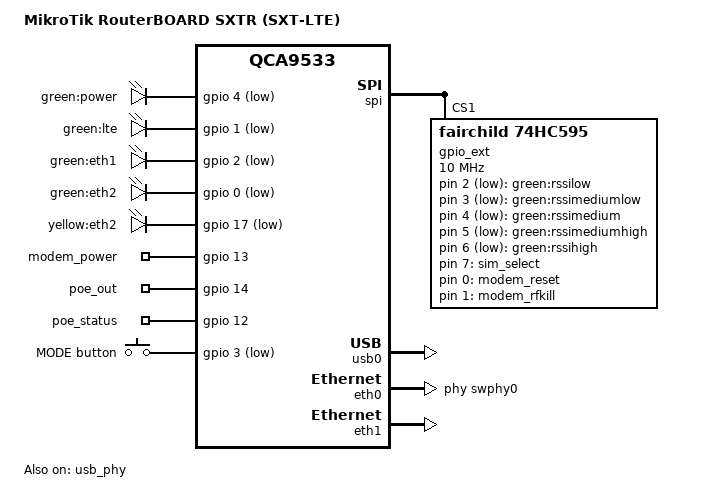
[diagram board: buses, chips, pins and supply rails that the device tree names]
// SPDX-License-Identifier: GPL-2.0-or-later OR MIT

#include "qca9533_mikrotik_routerboard-16m.dtsi"

/ {
    compatible = "mikrotik,routerboard-sxtr", "qca,qca9533";
    model = "MikroTik RouterBOARD SXTR (SXT-LTE)";

    aliases {
        led-boot = &led_power;
        led-failsafe = &led_power;
        led-upgrade = &led_power;
        led-running = &led_power;
    };

    leds {
        compatible = "gpio-leds";
        pinctrl-names = "default";

        led_power: power {
            label = "green:power";
            gpios = <&gpio 4 GPIO_ACTIVE_LOW>;
        };

        lte {
            label = "green:lte";
            gpios = <&gpio 1 GPIO_ACTIVE_LOW>;
        };

        eth1green {
            label = "green:eth1";
            gpios = <&gpio 2 GPIO_ACTIVE_LOW>;
        };

        eth2green {
            label = "green:eth2";
            gpios = <&gpio 0 GPIO_ACTIVE_LOW>;
        };

        eth2yellow {
            label = "yellow:eth2";
            gpios = <&gpio 17 GPIO_ACTIVE_LOW>;
        };

        signal0 {
            label = "green:rssilow";
            gpios = <&gpio_ext 2 GPIO_ACTIVE_LOW>;
        };

        signal1 {
            label = "green:rssimediumlow";
            gpios = <&gpio_ext 3 GPIO_ACTIVE_LOW>;
        };

        signal2 {
            label = "green:rssimedium";
            gpios = <&gpio_ext 4 GPIO_ACTIVE_LOW>;
        };

        signal3 {
            label = "green:rssimediumhigh";
            gpios = <&gpio_ext 5 GPIO_ACTIVE_LOW>;
        };

        signal4 {
            label = "green:rssihigh";
            gpios = <&gpio_ext 6 GPIO_ACTIVE_LOW>;
        };

    };

    gpio-export {
        compatible = "gpio-export";

        modem_power {
            gpio-export,name = "modem_power";
            gpio-export,output = <0>;
            gpios = <&gpio 13 GPIO_ACTIVE_HIGH>;
        };

        poe_out {
            gpio-export,name = "poe_out";
            gpio-export,output = <0>;
            gpios = <&gpio 14 GPIO_ACTIVE_HIGH>;
        };

        poe_status {
            gpio-export,name = "poe_status";
            gpio-export,input;
            gpios = <&gpio 12 GPIO_ACTIVE_HIGH>;
        };

        sim_select {
            gpio-export,name = "sim_select";
            gpio-export,output = <0>;
            gpios = <&gpio_ext 7 GPIO_ACTIVE_HIGH>;
        };

        modem_reset {
            gpio-export,name = "modem_reset";
            gpio-export,output = <0>;
            gpios = <&gpio_ext 0 GPIO_ACTIVE_HIGH>;
        };

        modem_rfkill {
            gpio-export,name = "modem_rfkill";
            gpio-export,output = <0>;
            gpios = <&gpio_ext 1 GPIO_ACTIVE_HIGH>;
        };
    };

    keys {
        compatible = "gpio-keys";

        mode {
            label = "MODE button";
            linux,code = <KEY_RFKILL>;
            gpios = <&gpio 3 GPIO_ACTIVE_LOW>;
            debounce-interval = <60>;
        };
    };
};

&spi {
    status = "okay";
    num-cs = <2>;
    cs-gpios = <0>, <0>;

    pinctrl-names = "default";
    pinctrl-0 = <&pmx_spi_ext>;

    gpio_ext: gpio_ext@1 {
        compatible = "fairchild,74hc595";
        reg = <1>;
        gpio-controller;
        #gpio-cells = <2>;
        registers-number = <1>;
        spi-max-frequency = <10000000>;
    };
};

&pinmux {
    pmx_spi_ext: spi_ext {
        pinctrl-single,bits = <0x08 0x0a000000 0xff000000>;  // Route SPI_CS1 to GPIO 11 for 74HC595.
    };

    pmx_gpios: pmx_gpios {
        pinctrl-single,bits = <0x00 0x00000000 0x00ff00ff>,  // port green leds normal GPIO
                        <0x08 0x00001600 0x0000ff00>,  // 10 is serial out -- shared eth1 yellow LED
                        <0x10 0x00000000 0x0000ff00>;  // i7 normal mode for LED
    };
};

&gpio {
    pinctrl-names = "default";
    pinctrl-0 = <&pmx_gpios>;
};

&usb0 {
    #address-cells = <1>;
    #size-cells = <0>;
    status = "okay";

    hub_port: port@1 {
        eg = <1>;
        #trigger-source-cells = <0>;
    };
};

&usb_phy {
    status = "okay";
};

&eth0 {
    status = "okay";
    mtd-mac-address = <&hard_config 0x10>;
    mtd-mac-address-increment = <1>;
    phy-handle = <&swphy0>;

    gmac-config {
        device = <&gmac>;
        switch-phy-swap = <1>;
    };
};

&eth1 {
    status = "okay";
    mtd-mac-address = <&hard_config 0x10>;
};
